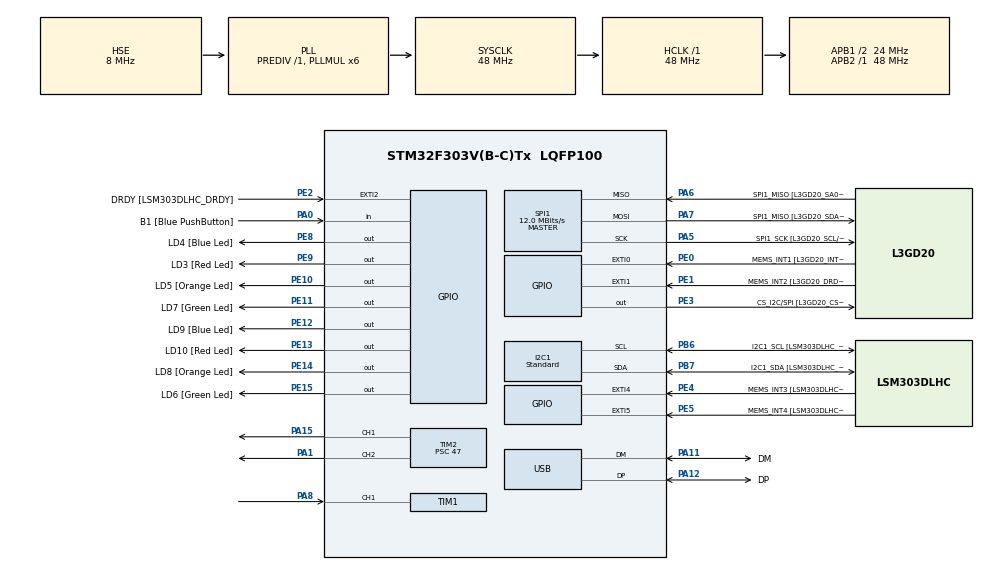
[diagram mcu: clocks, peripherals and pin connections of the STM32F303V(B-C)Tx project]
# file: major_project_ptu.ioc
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I2C1.I2C_Speed_Mode=I2C_Standard
I2C1.Speed=100
I2C1.Timing=0x00201D2B
I2C1.Timing-I2C=0x2000090E
Mcu.Family=STM32F3
Mcu.Name=STM32F303V(B-C)Tx
Mcu.Package=LQFP100
NVIC.PriorityGroup=NVIC_PRIORITYGROUP_0
NVIC.TIM1_CC_IRQn=true\:0\:0\:false\:false\:true\:true\:true\:true
NVIC.TIM2_IRQn=true\:0\:0\:false\:false\:true\:true\:true\:true
PA0.GPIO_Label=B1 [Blue PushButton]
PA0.Signal=GPIO_Input
PA1.Signal=S_TIM2_CH2
PA11.GPIO_Label=DM
PA11.Mode=Device
PA11.Signal=USB_DM
PA12.GPIO_Label=DP
PA12.Mode=Device
PA12.Signal=USB_DP
PA13.GPIO_Label=SWDIO
PA13.Mode=Serial_Wire
PA13.Signal=SYS_JTMS-SWDIO
PA14.GPIO_Label=SWCLK
PA14.Mode=Serial_Wire
PA14.Signal=SYS_JTCK-SWCLK
PA15.Signal=S_TIM2_CH1_ETR
PA5.GPIO_Label=SPI1_SCK [L3GD20_SCL/SPC]
PA5.Mode=Full_Duplex_Master
PA5.Signal=SPI1_SCK
PA6.GPIO_Label=SPI1_MISO [L3GD20_SA0/SDO]
PA6.Mode=Full_Duplex_Master
PA6.Signal=SPI1_MISO
PA7.GPIO_Label=SPI1_MISO [L3GD20_SDA/SDI/SDO]
PA7.Mode=Full_Duplex_Master
PA7.Signal=SPI1_MOSI
PA8.Signal=S_TIM1_CH1
PB3.GPIO_Label=SWO
PB3.Signal=SYS_JTDO-TRACESWO
PB6.GPIO_Label=I2C1_SCL [LSM303DLHC_SCL]
PB6.GPIO_Pu=GPIO_PULLUP
PB6.Mode=I2C
PB6.Signal=I2C1_SCL
PB7.GPIO_Label=I2C1_SDA [LSM303DLHC_SDA]
PB7.GPIO_Pu=GPIO_PULLUP
PB7.Mode=I2C
PB7.Signal=I2C1_SDA
PC14-OSC32_IN.GPIO_Label=OSC32_IN
PC14-OSC32_IN.Signal=RCC_OSC32_IN
PC15-OSC32_OUT.GPIO_Label=OSC32_OUT
PC15-OSC32_OUT.Signal=RCC_OSC32_OUT
PE0.GPIO_Label=MEMS_INT1 [L3GD20_INT1]
PE0.GPIO_ModeDefaultEXTI=GPIO_MODE_EVT_RISING
PE0.Signal=GPXTI0
PE1.GPIO_Label=MEMS_INT2 [L3GD20_DRDY/INT2]
PE1.GPIO_ModeDefaultEXTI=GPIO_MODE_EVT_RISING
PE1.Signal=GPXTI1
PE10.GPIO_Label=LD5 [Orange Led]
PE10.Signal=GPIO_Output
PE11.GPIO_Label=LD7 [Green Led]
PE11.Signal=GPIO_Output
PE12.GPIO_Label=LD9 [Blue Led]
PE12.Signal=GPIO_Output
PE13.GPIO_Label=LD10 [Red Led]
PE13.Signal=GPIO_Output
PE14.GPIO_Label=LD8 [Orange Led]
PE14.Signal=GPIO_Output
PE15.GPIO_Label=LD6 [Green Led]
PE15.Signal=GPIO_Output
PE2.GPIO_Label=DRDY [LSM303DLHC_DRDY]
PE2.GPIO_ModeDefaultEXTI=GPIO_MODE_EVT_RISING
PE2.Signal=GPXTI2
PE3.GPIO_Label=CS_I2C/SPI [L3GD20_CS_I2C/SPI]
PE3.Signal=GPIO_Output
PE4.GPIO_Label=MEMS_INT3 [LSM303DLHC_INT1]
PE4.GPIO_ModeDefaultEXTI=GPIO_MODE_EVT_RISING
PE4.Signal=GPXTI4
PE5.GPIO_Label=MEMS_INT4 [LSM303DLHC_INT2]
PE5.GPIO_ModeDefaultEXTI=GPIO_MODE_EVT_RISING
PE5.Signal=GPXTI5
PE8.GPIO_Label=LD4 [Blue Led]
PE8.Signal=GPIO_Output
PE9.GPIO_Label=LD3 [Red Led]
PE9.Signal=GPIO_Output
PF0-OSC_IN.GPIO_Label=OSC_IN
PF0-OSC_IN.Mode=HSE-External-Clock-Source
PF0-OSC_IN.Signal=RCC_OSC_IN
PF1-OSC_OUT.GPIO_Label=OSC_OUT
PF1-OSC_OUT.Signal=RCC_OSC_OUT
ProjectManager.HeapSize=0x200
ProjectManager.StackSize=0x400
ProjectManager.TargetToolchain=STM32CubeIDE
RCC.AHBFreq_Value=48000000
RCC.APB1CLKDivider=RCC_HCLK_DIV2
RCC.APB1Freq_Value=24000000
RCC.APB1TimFreq_Value=48000000
RCC.APB2Freq_Value=48000000
RCC.APB2TimFreq_Value=48000000
RCC.CortexFreq_Value=48000000
RCC.HCLKFreq_Value=48000000
RCC.HSE_VALUE=8000000
RCC.HSI_VALUE=8000000
RCC.LSE_VALUE=32768
RCC.PLLMUL=RCC_PLL_MUL6
RCC.SYSCLKFreq_VALUE=48000000
RCC.SYSCLKSourceVirtual=RCC_SYSCLKSOURCE_PLLCLK
RCC.USBFreq_Value=48000000
SH.S_TIM1_CH1.0=TIM1_CH1,Input_Capture1_from_TI1
SH.S_TIM2_CH1_ETR.0=TIM2_CH1,PWM Generation1 CH1
SH.S_TIM2_CH2.0=TIM2_CH2,PWM Generation2 CH2
SPI1.BaudRatePrescaler=SPI_BAUDRATEPRESCALER_4
SPI1.BaudRatePrescaler-Full_Duplex_Master=SPI_BAUDRATEPRESCALER_2
SPI1.CalculateBaudRate=12.0 MBits/s
SPI1.CalculateBaudRate-Full_Duplex_Master=24.0 MBits/s
SPI1.Direction=SPI_DIRECTION_2LINES
SPI1.Mode=SPI_MODE_MASTER
SPI1.Mode-Full_Duplex_Master=SPI_MODE_MASTER
SPI1.VirtualType=VM_MASTER
TIM1.Channel-Input_Capture1_from_TI1=TIM_CHANNEL_1
TIM1.ICPolarity_CH1=TIM_INPUTCHANNELPOLARITY_BOTHEDGE
TIM1.Prescaler=47
TIM2.AutoReloadPreload=TIM_AUTORELOAD_PRELOAD_ENABLE
TIM2.Channel-PWM\ Generation1\ CH1=TIM_CHANNEL_1
TIM2.Channel-PWM\ Generation2\ CH2=TIM_CHANNEL_2
TIM2.Period=20000
TIM2.Prescaler=47
TIM2.Pulse-PWM\ Generation1\ CH1=2000
TIM2.Pulse-PWM\ Generation2\ CH2=2000
VP_TIM1_VS_ClockSourceINT.Mode=Internal
board=STM32F3DISCOVERY

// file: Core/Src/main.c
/* USER CODE BEGIN Header */
/**
  ******************************************************************************
  * @file           : main.c
  * @brief          : Main program body
  ******************************************************************************
  * @attention
  *
  * Copyright (c) 2025 STMicroelectronics.
  * All rights reserved.
  *
  * This software is licensed under terms that can be found in the LICENSE file
  * in the root directory of this software component.
  * If no LICENSE file comes with this software, it is provided AS-IS.
  *
  ******************************************************************************
  */
/* USER CODE END Header */
#include "main.h"

/* USER CODE BEGIN Includes */
#include "ptu_definitions.h"
#include "ptu_i2c.h"
#include "ptu_servo.h"
#include "ptu_lidar.h"
#include "serial.h"
#include "serialise.h"
#include "gpio.h"
#include "filters.h"
#include <math.h>
/* USER CODE END Includes */

I2C_HandleTypeDef hi2c1;

SPI_HandleTypeDef hspi1;

PCD_HandleTypeDef hpcd_USB_FS;

// timer definition for lidar pwm
TIM_HandleTypeDef htim1;
TIM_HandleTypeDef htim2;

void SystemClock_Config(void);
static void MX_GPIO_Init(void);
static void MX_I2C1_Init(void);
static void MX_SPI1_Init(void);
static void MX_USB_PCD_Init(void);
static void MX_TIM2_Init(void);
static void MX_TIM1_Init(void);

int main(void)
{

  /* USER CODE BEGIN 1 */
//	Pin connections
//	SCL to PB6
//	SDA to PB7
//	PWM1 to PA1
//	PWM2 to PA15
//	LASPWM to PA8
//	rest to ground

  /* USER CODE END 1 */

  /* MCU Configuration--------------------------------------------------------*/

  /* Reset of all peripherals, Initializes the Flash interface and the Systick. */
  HAL_Init();

  /* Configure the system clock */
  SystemClock_Config();

  /* Initialize all configured peripherals */
  MX_GPIO_Init();
  MX_I2C1_Init();
  MX_SPI1_Init();
  MX_USB_PCD_Init();
  MX_TIM2_Init();
  MX_TIM1_Init();
  /* USER CODE BEGIN 2 */

	  // Initialise UART serial communication at 115200 baud
	  // and set the command parser callback for servo control
	  serialInitialise(BAUD_115200, &USART1_PORT, &servo_command_parser);

	  // Enable receive interrupt for non-blocking serial input
	  serialReceiveInterrupt(&USART1_PORT);

	  // Initialise I2C interface for the pan-tilt unit (gyro, accel, etc.)
	  initialise_ptu_i2c(&hi2c1);

	  uint8_t return_value = 0x00;

	  return_value = HAL_I2C_Mem_Write(&hi2c1, LIDAR_WR, 0x00, 1, &return_value, 1, 10);
	  if (return_value != HAL_OK) {
	      // Handle I2C error
	      Error_Handler();
	  }

	  return_value = initialise_ptu_pwm(&htim1, &htim2);
	  if (return_value != HAL_OK) {
	      // Handle PWM init failure
	      Error_Handler();
	  }

	  // Create and initialise an array of median filters for sensor data
	  Filter dataFilters[NUM_DATA];
	  initFilters(dataFilters, 0);  // Fill filter windows with initial value 0

	  // Variables to hold filtered sensor data
	  uint16_t filtered_lidar;
	  int16_t filtered_roll, filtered_pitch, filtered_yaw;
	  int16_t filtered_acc_x, filtered_acc_y, filtered_acc_z;

	  // Variables to hold raw sensor data
	  int16_t yaw = 0, pitch = 0, roll = 0;
	  int16_t ax = 0, ay = 0, az = 0;

  /* USER CODE END 2 */

  /* Infinite loop */
  while (1)
  {

	    // Read raw gyro and accelerometer data from IMU
	    get_gyro_accel(&hi2c1, &yaw, &pitch, &roll, &ax, &ay, &az);

	    // Apply median filtering to raw sensor data to remove noise
	    filter_all_sensor_data(dataFilters, last_period,
	                           roll, pitch, yaw,
	                           ax, ay, az,
	                           &filtered_lidar,
	                           &filtered_roll, &filtered_pitch, &filtered_yaw,
	                           &filtered_acc_x, &filtered_acc_y, &filtered_acc_z);

		// ===== SERIAL DEBUG =====
		// send data without serialisation, lidar distance set as 0 as i2c doesnt work
//		uint8_t string_to_send[128];
//		sprintf(string_to_send, "last period: %hu, lidar distance: %hu, roll: %hd, pitch: %hd, yaw: %hd\r\n", filtered_lidar, 0, filtered_roll, filtered_pitch, filtered_yaw);
//		transmitString(string_to_send, &USART1_PORT);

		// Construct a sensor data packet and send over serial
	    sendSensorData(filtered_roll, filtered_pitch, filtered_yaw,
	                     filtered_acc_x, filtered_acc_y, filtered_acc_z,
	                     filtered_lidar, &USART1_PORT);

//		// Read a data packet from serial

		uint8_t data_packet_input_buffer[32] = {0};

//		Read header
		uint16_t header_size = serialInputPacketHeader((char *)data_packet_input_buffer, &USART1_PORT);
		if (header_size == 0) {
		    // Handle header receive failure
		}

	}
}

void SystemClock_Config(void)
{
  RCC_OscInitTypeDef RCC_OscInitStruct = {0};
  RCC_ClkInitTypeDef RCC_ClkInitStruct = {0};
  RCC_PeriphCLKInitTypeDef PeriphClkInit = {0};

  /** Initializes the RCC Oscillators according to the specified parameters
  * in the RCC_OscInitTypeDef structure.
  */
  RCC_OscInitStruct.OscillatorType = RCC_OSCILLATORTYPE_HSI|RCC_OSCILLATORTYPE_HSE;
  RCC_OscInitStruct.HSEState = RCC_HSE_BYPASS;
  RCC_OscInitStruct.HSEPredivValue = RCC_HSE_PREDIV_DIV1;
  RCC_OscInitStruct.HSIState = RCC_HSI_ON;
  RCC_OscInitStruct.HSICalibrationValue = RCC_HSICALIBRATION_DEFAULT;
  RCC_OscInitStruct.PLL.PLLState = RCC_PLL_ON;
  RCC_OscInitStruct.PLL.PLLSource = RCC_PLLSOURCE_HSE;
  RCC_OscInitStruct.PLL.PLLMUL = RCC_PLL_MUL6;
  if (HAL_RCC_OscConfig(&RCC_OscInitStruct) != HAL_OK)
  {
    Error_Handler();
  }

  /** Initializes the CPU, AHB and APB buses clocks
  */
  RCC_ClkInitStruct.ClockType = RCC_CLOCKTYPE_HCLK|RCC_CLOCKTYPE_SYSCLK
                              |RCC_CLOCKTYPE_PCLK1|RCC_CLOCKTYPE_PCLK2;
  RCC_ClkInitStruct.SYSCLKSource = RCC_SYSCLKSOURCE_PLLCLK;
  RCC_ClkInitStruct.AHBCLKDivider = RCC_SYSCLK_DIV1;
  RCC_ClkInitStruct.APB1CLKDivider = RCC_HCLK_DIV2;
  RCC_ClkInitStruct.APB2CLKDivider = RCC_HCLK_DIV1;

  if (HAL_RCC_ClockConfig(&RCC_ClkInitStruct, FLASH_LATENCY_1) != HAL_OK)
  {
    Error_Handler();
  }
  PeriphClkInit.PeriphClockSelection = RCC_PERIPHCLK_USB|RCC_PERIPHCLK_I2C1
                              |RCC_PERIPHCLK_TIM1;
  PeriphClkInit.I2c1ClockSelection = RCC_I2C1CLKSOURCE_HSI;
  PeriphClkInit.USBClockSelection = RCC_USBCLKSOURCE_PLL;
  PeriphClkInit.Tim1ClockSelection = RCC_TIM1CLK_HCLK;
  if (HAL_RCCEx_PeriphCLKConfig(&PeriphClkInit) != HAL_OK)
  {
    Error_Handler();
  }
}

static void MX_I2C1_Init(void)
{

  hi2c1.Instance = I2C1;
  hi2c1.Init.Timing = 0x2000090E;
  hi2c1.Init.OwnAddress1 = 0;
  hi2c1.Init.AddressingMode = I2C_ADDRESSINGMODE_7BIT;
  hi2c1.Init.DualAddressMode = I2C_DUALADDRESS_DISABLE;
  hi2c1.Init.OwnAddress2 = 0;
  hi2c1.Init.OwnAddress2Masks = I2C_OA2_NOMASK;
  hi2c1.Init.GeneralCallMode = I2C_GENERALCALL_DISABLE;
  hi2c1.Init.NoStretchMode = I2C_NOSTRETCH_DISABLE;
  if (HAL_I2C_Init(&hi2c1) != HAL_OK)
  {
    Error_Handler();
  }

  /** Configure Analogue filter
  */
  if (HAL_I2CEx_ConfigAnalogFilter(&hi2c1, I2C_ANALOGFILTER_ENABLE) != HAL_OK)
  {
    Error_Handler();
  }

  /** Configure Digital filter
  */
  if (HAL_I2CEx_ConfigDigitalFilter(&hi2c1, 0) != HAL_OK)
  {
    Error_Handler();
  }

}

static void MX_SPI1_Init(void)
{

  /* SPI1 parameter configuration*/
  hspi1.Instance = SPI1;
  hspi1.Init.Mode = SPI_MODE_MASTER;
  hspi1.Init.Direction = SPI_DIRECTION_2LINES;
  hspi1.Init.DataSize = SPI_DATASIZE_4BIT;
  hspi1.Init.CLKPolarity = SPI_POLARITY_LOW;
  hspi1.Init.CLKPhase = SPI_PHASE_1EDGE;
  hspi1.Init.NSS = SPI_NSS_SOFT;
  hspi1.Init.BaudRatePrescaler = SPI_BAUDRATEPRESCALER_4;
  hspi1.Init.FirstBit = SPI_FIRSTBIT_MSB;
  hspi1.Init.TIMode = SPI_TIMODE_DISABLE;
  hspi1.Init.CRCCalculation = SPI_CRCCALCULATION_DISABLE;
  hspi1.Init.CRCPolynomial = 7;
  hspi1.Init.CRCLength = SPI_CRC_LENGTH_DATASIZE;
  hspi1.Init.NSSPMode = SPI_NSS_PULSE_ENABLE;
  if (HAL_SPI_Init(&hspi1) != HAL_OK)
  {
    Error_Handler();
  }

}

static void MX_TIM1_Init(void)
{

  TIM_ClockConfigTypeDef sClockSourceConfig = {0};
  TIM_MasterConfigTypeDef sMasterConfig = {0};
  TIM_IC_InitTypeDef sConfigIC = {0};

  htim1.Instance = TIM1;
  htim1.Init.Prescaler = 47;
  htim1.Init.CounterMode = TIM_COUNTERMODE_UP;
  htim1.Init.Period = 65535;
  htim1.Init.ClockDivision = TIM_CLOCKDIVISION_DIV1;
  htim1.Init.RepetitionCounter = 0;
  htim1.Init.AutoReloadPreload = TIM_AUTORELOAD_PRELOAD_DISABLE;
  if (HAL_TIM_Base_Init(&htim1) != HAL_OK)
  {
    Error_Handler();
  }
  sClockSourceConfig.ClockSource = TIM_CLOCKSOURCE_INTERNAL;
  if (HAL_TIM_ConfigClockSource(&htim1, &sClockSourceConfig) != HAL_OK)
  {
    Error_Handler();
  }
  if (HAL_TIM_IC_Init(&htim1) != HAL_OK)
  {
    Error_Handler();
  }
  sMasterConfig.MasterOutputTrigger = TIM_TRGO_RESET;
  sMasterConfig.MasterOutputTrigger2 = TIM_TRGO2_RESET;
  sMasterConfig.MasterSlaveMode = TIM_MASTERSLAVEMODE_DISABLE;
  if (HAL_TIMEx_MasterConfigSynchronization(&htim1, &sMasterConfig) != HAL_OK)
  {
    Error_Handler();
  }
  sConfigIC.ICPolarity = TIM_INPUTCHANNELPOLARITY_BOTHEDGE;
  sConfigIC.ICSelection = TIM_ICSELECTION_DIRECTTI;
  sConfigIC.ICPrescaler = TIM_ICPSC_DIV1;
  sConfigIC.ICFilter = 0;
  if (HAL_TIM_IC_ConfigChannel(&htim1, &sConfigIC, TIM_CHANNEL_1) != HAL_OK)
  {
    Error_Handler();
  }

}

static void MX_TIM2_Init(void)
{

  TIM_MasterConfigTypeDef sMasterConfig = {0};
  TIM_OC_InitTypeDef sConfigOC = {0};

  htim2.Instance = TIM2;
  htim2.Init.Prescaler = 47;
  htim2.Init.CounterMode = TIM_COUNTERMODE_UP;
  htim2.Init.Period = 20000;
  htim2.Init.ClockDivision = TIM_CLOCKDIVISION_DIV1;
  htim2.Init.AutoReloadPreload = TIM_AUTORELOAD_PRELOAD_ENABLE;
  if (HAL_TIM_PWM_Init(&htim2) != HAL_OK)
  {
    Error_Handler();
  }
  sMasterConfig.MasterOutputTrigger = TIM_TRGO_RESET;
  sMasterConfig.MasterSlaveMode = TIM_MASTERSLAVEMODE_DISABLE;
  if (HAL_TIMEx_MasterConfigSynchronization(&htim2, &sMasterConfig) != HAL_OK)
  {
    Error_Handler();
  }
  sConfigOC.OCMode = TIM_OCMODE_PWM1;
  sConfigOC.Pulse = 2000;
  sConfigOC.OCPolarity = TIM_OCPOLARITY_HIGH;
  sConfigOC.OCFastMode = TIM_OCFAST_DISABLE;
  if (HAL_TIM_PWM_ConfigChannel(&htim2, &sConfigOC, TIM_CHANNEL_1) != HAL_OK)
  {
    Error_Handler();
  }
  if (HAL_TIM_PWM_ConfigChannel(&htim2, &sConfigOC, TIM_CHANNEL_2) != HAL_OK)
  {
    Error_Handler();
  }
  HAL_TIM_MspPostInit(&htim2);

}

static void MX_USB_PCD_Init(void)
{

  hpcd_USB_FS.Instance = USB;
  hpcd_USB_FS.Init.dev_endpoints = 8;
  hpcd_USB_FS.Init.speed = PCD_SPEED_FULL;
  hpcd_USB_FS.Init.phy_itface = PCD_PHY_EMBEDDED;
  hpcd_USB_FS.Init.low_power_enable = DISABLE;
  hpcd_USB_FS.Init.battery_charging_enable = DISABLE;
  if (HAL_PCD_Init(&hpcd_USB_FS) != HAL_OK)
  {
    Error_Handler();
  }

}

static void MX_GPIO_Init(void)
{
  GPIO_InitTypeDef GPIO_InitStruct = {0};

  /* GPIO Ports Clock Enable */
  __HAL_RCC_GPIOE_CLK_ENABLE();
  __HAL_RCC_GPIOC_CLK_ENABLE();
  __HAL_RCC_GPIOF_CLK_ENABLE();
  __HAL_RCC_GPIOA_CLK_ENABLE();
  __HAL_RCC_GPIOB_CLK_ENABLE();

  /*Configure GPIO pin Output Level */
  HAL_GPIO_WritePin(GPIOE, CS_I2C_SPI_Pin|LD4_Pin|LD3_Pin|LD5_Pin
                          |LD7_Pin|LD9_Pin|LD10_Pin|LD8_Pin
                          |LD6_Pin, GPIO_PIN_RESET);

  /*Configure GPIO pins : DRDY_Pin MEMS_INT3_Pin MEMS_INT4_Pin MEMS_INT1_Pin
                           MEMS_INT2_Pin */
  GPIO_InitStruct.Pin = DRDY_Pin|MEMS_INT3_Pin|MEMS_INT4_Pin|MEMS_INT1_Pin
                          |MEMS_INT2_Pin;
  GPIO_InitStruct.Mode = GPIO_MODE_EVT_RISING;
  GPIO_InitStruct.Pull = GPIO_NOPULL;
  HAL_GPIO_Init(GPIOE, &GPIO_InitStruct);

  /*Configure GPIO pins : CS_I2C_SPI_Pin LD4_Pin LD3_Pin LD5_Pin
                           LD7_Pin LD9_Pin LD10_Pin LD8_Pin
                           LD6_Pin */
  GPIO_InitStruct.Pin = CS_I2C_SPI_Pin|LD4_Pin|LD3_Pin|LD5_Pin
                          |LD7_Pin|LD9_Pin|LD10_Pin|LD8_Pin
                          |LD6_Pin;
  GPIO_InitStruct.Mode = GPIO_MODE_OUTPUT_PP;
  GPIO_InitStruct.Pull = GPIO_NOPULL;
  GPIO_InitStruct.Speed = GPIO_SPEED_FREQ_LOW;
  HAL_GPIO_Init(GPIOE, &GPIO_InitStruct);

  /*Configure GPIO pin : B1_Pin */
  GPIO_InitStruct.Pin = B1_Pin;
  GPIO_InitStruct.Mode = GPIO_MODE_INPUT;
  GPIO_InitStruct.Pull = GPIO_NOPULL;
  HAL_GPIO_Init(B1_GPIO_Port, &GPIO_InitStruct);

}

void Error_Handler(void)
{
  __disable_irq();
  while (1)
  {
  }
}
